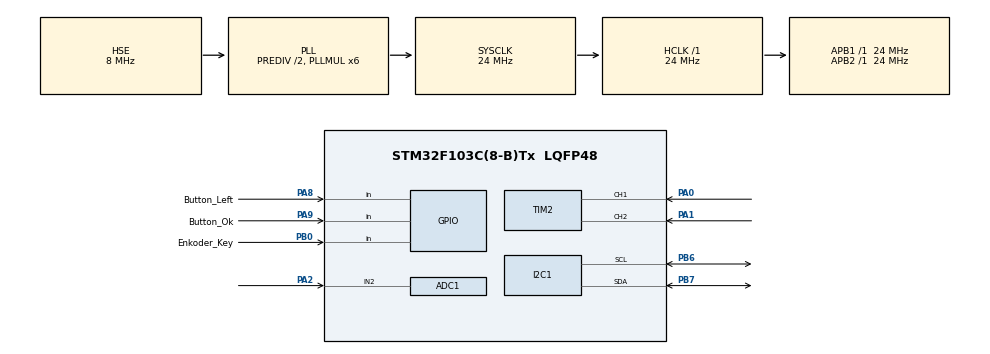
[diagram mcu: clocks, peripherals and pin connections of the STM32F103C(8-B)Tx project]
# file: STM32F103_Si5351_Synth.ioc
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Mcu.Family=STM32F1
RCC.PLLSourceVirtual=RCC_PLLSOURCE_HSE
NVIC.ADC1_2_IRQn=true\:0\:0\:false\:false\:true\:true\:true
ADC1.Rank-0\#ChannelRegularConversion=1
PD1-OSC_OUT.Mode=HSE-External-Oscillator
TIM2.IC1Filter=15
SH.ADCx_IN2.0=ADC1_IN2,IN2
PA9.GPIO_Label=Button_Ok
PB0.GPIO_Label=Enkoder_Key
TIM2.EncoderMode=TIM_ENCODERMODE_TI12
PD0-OSC_IN.Signal=RCC_OSC_IN
PA9.GPIO_PuPd=GPIO_PULLUP
RCC.SYSCLKSource=RCC_SYSCLKSOURCE_PLLCLK
ProjectManager.StackSize=0x400
PA0-WKUP.Signal=S_TIM2_CH1_ETR
PD1-OSC_OUT.Signal=RCC_OSC_OUT
RCC.ADCPresc=RCC_ADCPCLK2_DIV4
PA13.Signal=SYS_JTMS-SWDIO
SH.S_TIM2_CH2.0=TIM2_CH2,Encoder_Interface
PA8.GPIO_Label=Button_Left
ProjectManager.TargetToolchain=STM32CubeIDE
I2C1.I2C_Mode=I2C_Fast
RCC.HCLKFreq_Value=24000000
RCC.APB2TimFreq_Value=24000000
TIM2.IC2Prescaler=TIM_ICPSC_DIV4
TIM3.Period=3999
PA9.Signal=GPIO_Input
PB6.Signal=I2C1_SCL
PB6.Mode=I2C
RCC.USBFreq_Value=24000000
PA1.Signal=S_TIM2_CH2
RCC.AHBFreq_Value=24000000
PD0-OSC_IN.Mode=HSE-External-Oscillator
ADC1.Channel-0\#ChannelRegularConversion=ADC_CHANNEL_2
board=custom
RCC.PLLMUL=RCC_PLL_MUL6
RCC.APB2Freq_Value=24000000
PA14.Mode=Serial_Wire
TIM3.Prescaler=5999
PB7.Signal=I2C1_SDA
PA8.Signal=GPIO_Input
PA13.Mode=Serial_Wire
Mcu.Name=STM32F103C(8-B)Tx
ADC1.SamplingTime-0\#ChannelRegularConversion=ADC_SAMPLETIME_13CYCLES_5
PA2.Signal=ADCx_IN2
ADC1.ExternalTrigConv=ADC_EXTERNALTRIGCONV_T3_TRGO
RCC.SYSCLKFreq_VALUE=24000000
Mcu.Package=LQFP48
ADC1.master=1
RCC.HSEDivPLL=RCC_HSE_PREDIV_DIV2
PB7.Mode=I2C
SH.S_TIM2_CH1_ETR.0=TIM2_CH1,Encoder_Interface
PA14.Signal=SYS_JTCK-SWCLK
ProjectManager.HeapSize=0x200
PA8.GPIO_PuPd=GPIO_PULLUP
NVIC.PriorityGroup=NVIC_PRIORITYGROUP_4
ADC1.NbrOfConversionFlag=1
RCC.APB1TimFreq_Value=24000000
TIM2.AutoReloadPreload=TIM_AUTORELOAD_PRELOAD_ENABLE
TIM3.TIM_MasterOutputTrigger=TIM_TRGO_UPDATE
RCC.APB1Freq_Value=24000000
PB0.Signal=GPIO_Input
VP_TIM3_VS_ClockSourceINT.Mode=Internal
TIM2.IC1Prescaler=TIM_ICPSC_DIV4
TIM2.IC2Filter=15

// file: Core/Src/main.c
/* USER CODE BEGIN Header */
/**
  ******************************************************************************
  * @file           : main.c
  * @brief          : Main program body
  ******************************************************************************
  * @attention
  *
  * <h2><center>&copy; Copyright (c) 2021 STMicroelectronics.
  * All rights reserved.</center></h2>
  *
  * This software component is licensed by ST under BSD 3-Clause license,
  * the "License"; You may not use this file except in compliance with the
  * License. You may obtain a copy of the License at:
  *                        opensource.org/licenses/BSD-3-Clause
  *
  ******************************************************************************
  */
/* USER CODE END Header */
#include "main.h"

/* USER CODE BEGIN Includes */
#include "fonts.h"
#include "ssd1306.h"
#include "si5351.h"
#include "stdlib.h"
#include "stdbool.h"
#include "string.h"
#include "stdio.h"
#include "keyboard.h"

#include "stm32f1xx_it.h"
/* USER CODE END Includes */

/* USER CODE BEGIN PTD */
#define INTERMEDIATE_FREQUENCY	10700000
#define START_FREQUENCY			7000000

#define STEP_BUF_SIZE	5
uint32_t stepBuf[STEP_BUF_SIZE] = { 100, 500, 1000, 10000, 100000 };	// Hz
uint8_t stepBufIdx = 0;
bool flagUpdateScreen = 1;

uint32_t pll_frequency = START_FREQUENCY;
uint32_t pll2_frequency = 60000000;

#define ENCODER_TIM    htim2

#define XTAL_FREQ	25000000

#define SI_CLK0_CONTROL		16
#define SI_PLL_RESET		177
#define SI_CLK_SRC_PLL_A	0b00000000
#define SI_CLK_SRC_PLL_B	0b00100000

typedef enum _ENCODER_DIRECTION_TYPE {
	DIRECTION_NONE = 0,
	DIRECTION_UP = 1,
	DIRECTION_DOWN
} ENCODER_DIRECTION_TYPE;
/* USER CODE END PTD */

ADC_HandleTypeDef hadc1;

I2C_HandleTypeDef hi2c1;

TIM_HandleTypeDef htim2;
TIM_HandleTypeDef htim3;

/* USER CODE BEGIN PV */
char buff[20];
bool convCompleted = 0;
/* USER CODE END PV */

void SystemClock_Config(void);
static void MX_GPIO_Init(void);
static void MX_I2C1_Init(void);
static void MX_TIM2_Init(void);
static void MX_ADC1_Init(void);
static void MX_TIM3_Init(void);
/* USER CODE BEGIN PFP */
void SystemClock_Config(void);
static void MX_GPIO_Init(void);
static void MX_I2C1_Init(void);
static void MX_TIM2_Init(void);
/* USER CODE BEGIN PFP */
uint32_t encoderValue = 0;
ENCODER_DIRECTION_TYPE getEncoderDir(void)
{
	static uint8_t cntTick = 0;

	if ( encoderValue != ENCODER_TIM.Instance->CNT && ( cntTick < 4 )) {
		cntTick++;
		encoderValue = ENCODER_TIM.Instance->CNT;

		if ( cntTick == 4 ) {
			cntTick = 0;
			return ENCODER_TIM.Instance->CR1 & TIM_CR1_DIR ? DIRECTION_DOWN : DIRECTION_UP;
		}
	}
	return DIRECTION_NONE;
}

void printRfFrequency(uint32_t frequency) {

	itoa(frequency/100, buff, 10);
	ssd1306_SetCursor(1, 1);

	if ( frequency >= 10000000 ) {
		buff[6] = buff[5];
		buff[5] = '.';
	}
	else if (frequency < 1000000) {
		buff[4] = buff[3];
		buff[3] = '.';
		buff[5] = ' ';
		buff[6] = ' ';
	}
	else {
		buff[5] = buff[4];
		buff[4] = '.';
		buff[6] = ' ';
	}

	buff[7] = 0;

	ssd1306_WriteString(buff, Font_16x26, White);
	//ssd1306_UpdateScreen();
	flagUpdateScreen = 1;
}

void showTuningStep(void) {
	ssd1306_SetCursor(75, Font_16x26.FontHeight + Font_11x18.FontHeight);
	if ( stepBuf[stepBufIdx] == 100 ) {
		ssd1306_WriteString("100 ", Font_11x18, White);
	}
	else if ( stepBuf[stepBufIdx] == 500 ) {
		ssd1306_WriteString("500 ", Font_11x18, White);
	}
	else if ( stepBuf[stepBufIdx] == 1000 ) {
		ssd1306_WriteString("1k  ", Font_11x18, White);
	}
	else if ( stepBuf[stepBufIdx] == 10000 ) {
		ssd1306_WriteString("10k ", Font_11x18, White);
	}
	else if ( stepBuf[stepBufIdx] == 100000 ) {
		ssd1306_WriteString("100k", Font_11x18, White);
	}
	//ssd1306_UpdateScreen();
	flagUpdateScreen = 1;
}
/* USER CODE END PFP */

/* USER CODE BEGIN 0 */

bool isEncoderKeyPressed() {
	static uint8_t keyPressed = 0;
		/*if ( !keyPressed ) {
			if ( (Enkoder_Key_GPIO_Port->IDR & Enkoder_Key_Pin) == 0 ) {
				keyPressed = 1;
			}
		}
		else if ( countDelayKey < NUMBER_TICK_KEY_WAIT ) {
			countDelayKey++;
			if( countDelayKey == NUMBER_TICK_KEY_WAIT ) {
				if ( (Enkoder_Key_GPIO_Port->IDR & Enkoder_Key_Pin) == 0 ) {
					//HAL_GPIO_TogglePin(GPIOC, GPIO_PIN_13);
					keyPressed = 0;
					countDelayKey = 0;
					return true;
				}
			}

			if( countDelayKey >= NUMBER_TICK_KEY_WAIT ) {
				keyPressed = 0;
				countDelayKey = 0;
			}
		}*/

	if ( !keyPressed && ((Enkoder_Key_GPIO_Port->IDR & Enkoder_Key_Pin) == 0) ) {
		keyPressed = 1;
		setBtnWaitTime(BUTTON_WAITING_TIME);
	}
	else if ( getBtnElapsedTime() == 0 ) {
		if ( (Enkoder_Key_GPIO_Port->IDR & Enkoder_Key_Pin) == 0 ) {
			keyPressed = 0;
			return true;
		}
	}

	return false;
}

void updateVoltage(void) {
	if(convCompleted) {
		convCompleted = 0;
		//HAL_ADC_PollForConversion(&hadc1, HAL_MAX_DELAY);
		float adcValue = 3300 * HAL_ADC_GetValue(&hadc1)/4095;
		adcValue = adcValue * (10000.0 + 4700.0)/4700.0;
		//itoa(adcValue, buff, 10);

		snprintf(buff, 19, "%.2fV", adcValue/1000);
		ssd1306_SetCursor(1, Font_16x26.FontHeight + Font_11x18.FontHeight);
		ssd1306_WriteString("     ", Font_11x18, White);
		ssd1306_SetCursor(1, Font_16x26.FontHeight + Font_11x18.FontHeight);
		ssd1306_WriteString(buff, Font_11x18, White);
		//ssd1306_UpdateScreen();
		flagUpdateScreen = 1;
	}
}

void changeTuningStep(ENCODER_DIRECTION_TYPE dir) {
	if (dir == DIRECTION_UP) {
		if ( stepBufIdx < STEP_BUF_SIZE - 1 ) {
			stepBufIdx++;
		}
	}
	else if (dir == DIRECTION_DOWN) {
		if ( stepBufIdx > 0 ) {
			stepBufIdx--;
		}
	}
	showTuningStep();
}

void setVFOFreqWithStepByDir(ENCODER_DIRECTION_TYPE dir) {
	if ( dir == DIRECTION_UP ) {
		pll_frequency = pll_frequency + stepBuf[stepBufIdx];
		Si5351_set_freq(((pll_frequency + INTERMEDIATE_FREQUENCY)* SI5351_FREQ_MULT), SI5351_PLL_FIXED, SI5351_CLK0);
		printRfFrequency(pll_frequency);
	}
	else if ( dir == DIRECTION_DOWN ) {
		if (pll_frequency > 0 && (pll_frequency - stepBuf[stepBufIdx]) >= 100000) {
			pll_frequency = pll_frequency - stepBuf[stepBufIdx];
			Si5351_set_freq(((pll_frequency + INTERMEDIATE_FREQUENCY)* SI5351_FREQ_MULT), SI5351_PLL_FIXED, SI5351_CLK0);
			printRfFrequency(pll_frequency);
		}
	}
}

void HAL_ADC_ConvCpltCallback(ADC_HandleTypeDef* hadc)
{
	 if(hadc->Instance == ADC1) {
		 convCompleted = 1;
	 }
}

/* USER CODE END 0 */

int main(void)
{
  /* USER CODE BEGIN 1 */
	ENCODER_DIRECTION_TYPE encoderDir = DIRECTION_NONE;
	ButtonKeyId_t keyPressed = buttonKEY_ID_NONE;
  /* USER CODE END 1 */

  /* MCU Configuration--------------------------------------------------------*/

  /* Reset of all peripherals, Initializes the Flash interface and the Systick. */
  HAL_Init();

  /* Configure the system clock */
  SystemClock_Config();

  /* Initialize all configured peripherals */
  MX_GPIO_Init();
  MX_I2C1_Init();
  MX_TIM2_Init();
  MX_ADC1_Init();
  MX_TIM3_Init();
  /* USER CODE BEGIN 2 */
  keyboardInit();
  ssd1306_Init();
  printRfFrequency(pll_frequency);
  showTuningStep();
  ssd1306_UpdateScreen();

  	Si5351_set_correction(-1370);
    Si5351_init(SI5351_CRYSTAL_LOAD_8PF, SI5351_XTAL_FREQ);
    Si5351_set_pll(SI5351_PLL_FIXED, SI5351_PLLA);
    //Si5351_set_pll(SI5351_PLL_FIXED, SI5351_PLLB);

    Si5351_set_ms_source(SI5351_CLK0, SI5351_PLLA);
    //Si5351_set_ms_source(SI5351_CLK1, SI5351_PLLA);
    //Si5351_set_ms_source(SI5351_CLK2, SI5351_PLLB);

    Si5351_set_freq(((pll_frequency + INTERMEDIATE_FREQUENCY)* SI5351_FREQ_MULT), SI5351_PLL_FIXED, SI5351_CLK0);
    //Si5351_set_freq(((pll2_frequency)* SI5351_FREQ_MULT), SI5351_PLL_FIXED, SI5351_CLK1);

    Si5351_drive_strength(SI5351_CLK0, SI5351_DRIVE_2MA);
    //Si5351_drive_strength(SI5351_CLK1, SI5351_DRIVE_2MA);

    Si5351_set_state_out(SI5351_CLK1, SI5351_OUT_DISABLE);
    Si5351_set_state_out(SI5351_CLK2, SI5351_OUT_DISABLE);

    HAL_TIM_Encoder_Start(&htim2, TIM_CHANNEL_ALL);
    HAL_GPIO_WritePin(GPIOC, GPIO_PIN_13, GPIO_PIN_SET);

    HAL_TIM_Base_Start(&htim3);
    HAL_ADC_Start_IT(&hadc1);

    //HAL_TIM_PWM_Start_IT(&htim1, TIM_CHANNEL_3);
    //HAL_ADC_Start_DMA(&hadc1, (uint32_t*)rawValues, 1);
  /* USER CODE END 2 */

  /* Infinite loop */
  /* USER CODE BEGIN WHILE */
  while (1)
  {
	  keyPressed = KeyboardPoll();
	  encoderDir = getEncoderDir();
	  setVFOFreqWithStepByDir(encoderDir);

	  if ( keyPressed == buttonKEY_ID_LEFT /*encoderKEY_ID*/ ) {
		  if ( stepBufIdx < STEP_BUF_SIZE ) {
			  stepBufIdx++;
			  if ( stepBufIdx == STEP_BUF_SIZE )
			  {
				  stepBufIdx = 0;
			  }
		  }
		  showTuningStep();
	  }

	  updateVoltage();
	  if(flagUpdateScreen) {
		  flagUpdateScreen = 0;
		  ssd1306_UpdateScreen();
	  }
    /* USER CODE END WHILE */

  }
}

void SystemClock_Config(void)
{
  RCC_OscInitTypeDef RCC_OscInitStruct = {0};
  RCC_ClkInitTypeDef RCC_ClkInitStruct = {0};
  RCC_PeriphCLKInitTypeDef PeriphClkInit = {0};

  /** Initializes the RCC Oscillators according to the specified parameters
  * in the RCC_OscInitTypeDef structure.
  */
  RCC_OscInitStruct.OscillatorType = RCC_OSCILLATORTYPE_HSE;
  RCC_OscInitStruct.HSEState = RCC_HSE_ON;
  RCC_OscInitStruct.HSEPredivValue = RCC_HSE_PREDIV_DIV2;
  RCC_OscInitStruct.HSIState = RCC_HSI_ON;
  RCC_OscInitStruct.PLL.PLLState = RCC_PLL_ON;
  RCC_OscInitStruct.PLL.PLLSource = RCC_PLLSOURCE_HSE;
  RCC_OscInitStruct.PLL.PLLMUL = RCC_PLL_MUL6;
  if (HAL_RCC_OscConfig(&RCC_OscInitStruct) != HAL_OK)
  {
    Error_Handler();
  }
  /** Initializes the CPU, AHB and APB buses clocks
  */
  RCC_ClkInitStruct.ClockType = RCC_CLOCKTYPE_HCLK|RCC_CLOCKTYPE_SYSCLK
                              |RCC_CLOCKTYPE_PCLK1|RCC_CLOCKTYPE_PCLK2;
  RCC_ClkInitStruct.SYSCLKSource = RCC_SYSCLKSOURCE_PLLCLK;
  RCC_ClkInitStruct.AHBCLKDivider = RCC_SYSCLK_DIV1;
  RCC_ClkInitStruct.APB1CLKDivider = RCC_HCLK_DIV1;
  RCC_ClkInitStruct.APB2CLKDivider = RCC_HCLK_DIV1;

  if (HAL_RCC_ClockConfig(&RCC_ClkInitStruct, FLASH_LATENCY_0) != HAL_OK)
  {
    Error_Handler();
  }
  PeriphClkInit.PeriphClockSelection = RCC_PERIPHCLK_ADC;
  PeriphClkInit.AdcClockSelection = RCC_ADCPCLK2_DIV4;
  if (HAL_RCCEx_PeriphCLKConfig(&PeriphClkInit) != HAL_OK)
  {
    Error_Handler();
  }
}

static void MX_ADC1_Init(void)
{

  ADC_ChannelConfTypeDef sConfig = {0};

  /** Common config
  */
  hadc1.Instance = ADC1;
  hadc1.Init.ScanConvMode = ADC_SCAN_DISABLE;
  hadc1.Init.ContinuousConvMode = DISABLE;
  hadc1.Init.DiscontinuousConvMode = DISABLE;
  hadc1.Init.ExternalTrigConv = ADC_EXTERNALTRIGCONV_T3_TRGO;
  hadc1.Init.DataAlign = ADC_DATAALIGN_RIGHT;
  hadc1.Init.NbrOfConversion = 1;
  if (HAL_ADC_Init(&hadc1) != HAL_OK)
  {
    Error_Handler();
  }
  /** Configure Regular Channel
  */
  sConfig.Channel = ADC_CHANNEL_2;
  sConfig.Rank = ADC_REGULAR_RANK_1;
  sConfig.SamplingTime = ADC_SAMPLETIME_13CYCLES_5;
  if (HAL_ADC_ConfigChannel(&hadc1, &sConfig) != HAL_OK)
  {
    Error_Handler();
  }

}

static void MX_I2C1_Init(void)
{

  hi2c1.Instance = I2C1;
  hi2c1.Init.ClockSpeed = 400000;
  hi2c1.Init.DutyCycle = I2C_DUTYCYCLE_2;
  hi2c1.Init.OwnAddress1 = 0;
  hi2c1.Init.AddressingMode = I2C_ADDRESSINGMODE_7BIT;
  hi2c1.Init.DualAddressMode = I2C_DUALADDRESS_DISABLE;
  hi2c1.Init.OwnAddress2 = 0;
  hi2c1.Init.GeneralCallMode = I2C_GENERALCALL_DISABLE;
  hi2c1.Init.NoStretchMode = I2C_NOSTRETCH_DISABLE;
  if (HAL_I2C_Init(&hi2c1) != HAL_OK)
  {
    Error_Handler();
  }

}

static void MX_TIM2_Init(void)
{

  TIM_Encoder_InitTypeDef sConfig = {0};
  TIM_MasterConfigTypeDef sMasterConfig = {0};

  htim2.Instance = TIM2;
  htim2.Init.Prescaler = 0;
  htim2.Init.CounterMode = TIM_COUNTERMODE_UP;
  htim2.Init.Period = 65535;
  htim2.Init.ClockDivision = TIM_CLOCKDIVISION_DIV1;
  htim2.Init.AutoReloadPreload = TIM_AUTORELOAD_PRELOAD_ENABLE;
  sConfig.EncoderMode = TIM_ENCODERMODE_TI12;
  sConfig.IC1Polarity = TIM_ICPOLARITY_RISING;
  sConfig.IC1Selection = TIM_ICSELECTION_DIRECTTI;
  sConfig.IC1Prescaler = TIM_ICPSC_DIV4;
  sConfig.IC1Filter = 15;
  sConfig.IC2Polarity = TIM_ICPOLARITY_RISING;
  sConfig.IC2Selection = TIM_ICSELECTION_DIRECTTI;
  sConfig.IC2Prescaler = TIM_ICPSC_DIV4;
  sConfig.IC2Filter = 15;
  if (HAL_TIM_Encoder_Init(&htim2, &sConfig) != HAL_OK)
  {
    Error_Handler();
  }
  sMasterConfig.MasterOutputTrigger = TIM_TRGO_RESET;
  sMasterConfig.MasterSlaveMode = TIM_MASTERSLAVEMODE_DISABLE;
  if (HAL_TIMEx_MasterConfigSynchronization(&htim2, &sMasterConfig) != HAL_OK)
  {
    Error_Handler();
  }

}

static void MX_TIM3_Init(void)
{

  TIM_ClockConfigTypeDef sClockSourceConfig = {0};
  TIM_MasterConfigTypeDef sMasterConfig = {0};

  htim3.Instance = TIM3;
  htim3.Init.Prescaler = 5999;
  htim3.Init.CounterMode = TIM_COUNTERMODE_UP;
  htim3.Init.Period = 3999;
  htim3.Init.ClockDivision = TIM_CLOCKDIVISION_DIV1;
  htim3.Init.AutoReloadPreload = TIM_AUTORELOAD_PRELOAD_DISABLE;
  if (HAL_TIM_Base_Init(&htim3) != HAL_OK)
  {
    Error_Handler();
  }
  sClockSourceConfig.ClockSource = TIM_CLOCKSOURCE_INTERNAL;
  if (HAL_TIM_ConfigClockSource(&htim3, &sClockSourceConfig) != HAL_OK)
  {
    Error_Handler();
  }
  sMasterConfig.MasterOutputTrigger = TIM_TRGO_UPDATE;
  sMasterConfig.MasterSlaveMode = TIM_MASTERSLAVEMODE_DISABLE;
  if (HAL_TIMEx_MasterConfigSynchronization(&htim3, &sMasterConfig) != HAL_OK)
  {
    Error_Handler();
  }

}

static void MX_GPIO_Init(void)
{
  GPIO_InitTypeDef GPIO_InitStruct = {0};

  /* GPIO Ports Clock Enable */
  __HAL_RCC_GPIOD_CLK_ENABLE();
  __HAL_RCC_GPIOA_CLK_ENABLE();
  __HAL_RCC_GPIOB_CLK_ENABLE();

  /*Configure GPIO pin : Enkoder_Key_Pin */
  GPIO_InitStruct.Pin = Enkoder_Key_Pin;
  GPIO_InitStruct.Mode = GPIO_MODE_INPUT;
  GPIO_InitStruct.Pull = GPIO_NOPULL;
  HAL_GPIO_Init(Enkoder_Key_GPIO_Port, &GPIO_InitStruct);

  /*Configure GPIO pins : Button_Left_Pin Button_Ok_Pin */
  GPIO_InitStruct.Pin = Button_Left_Pin|Button_Ok_Pin;
  GPIO_InitStruct.Mode = GPIO_MODE_INPUT;
  GPIO_InitStruct.Pull = GPIO_PULLUP;
  HAL_GPIO_Init(GPIOA, &GPIO_InitStruct);

}

void Error_Handler(void)
{
  __disable_irq();
  while (1)
  {
  }
}

/************************ (C) COPYRIGHT STMicroelectronics *****END OF FILE****/
